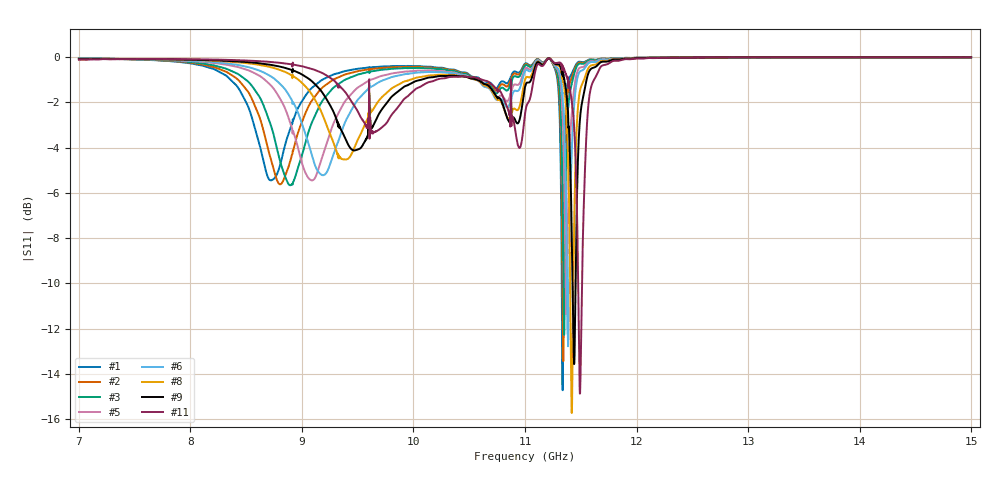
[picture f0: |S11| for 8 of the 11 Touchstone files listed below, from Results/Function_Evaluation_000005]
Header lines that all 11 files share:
! TOUCHSTONE file generated by CST DESIGN STUDIO
! Project name: C:\Work\MatlabApps\UnitCellType2OptimizationMatlab\CST\unitcell.cst
! Tree item: Tasks\Sweep1\SPara1\S-Parameters
! Header version: 2024
! Port assignment regex: !\s*Touchstone port\s*([0-9]+)\s*=\s*(CST MWS port|CST DES external port|CST DES block port)\s*(.+)\s* \(\"(.*)\"\)(\s*mode\s*([0-9]+))?.*
! Touchstone port assignment:
! Touchstone port 1 = CST DES external port 1 ("")
# GHz S MA R 50
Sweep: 7 GHz to 15 GHz
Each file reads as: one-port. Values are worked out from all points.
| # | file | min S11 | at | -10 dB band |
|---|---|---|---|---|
| 1 | DS_for_MWS-run-0001.s1p | -14.7 dB | 11.34 GHz | 14.58 MHz wide |
| 2 | DS_for_MWS-run-0002.s1p | -13.4 dB | 11.34 GHz | 13.36 MHz wide |
| 3 | DS_for_MWS-run-0003.s1p | -12.3 dB | 11.35 GHz | 11.89 MHz wide |
| 4 | DS_for_MWS-run-0004.s1p | -11.5 dB | 11.36 GHz | 10.62 MHz wide |
| 5 | DS_for_MWS-run-0005.s1p | -11.4 dB | 11.37 GHz | 11.31 MHz wide |
| 6 | DS_for_MWS-run-0006.s1p | -12.8 dB | 11.39 GHz | 18.52 MHz wide |
| 7 | DS_for_MWS-run-0007.s1p | -14.7 dB | 11.4 GHz | 25.8 MHz wide |
| 8 | DS_for_MWS-run-0008.s1p | -15.7 dB | 11.42 GHz | 28.71 MHz wide |
| 9 | DS_for_MWS-run-0009.s1p | -13.6 dB | 11.44 GHz | 25.83 MHz wide |
| 10 | DS_for_MWS-run-0010.s1p | -13.0 dB | 11.47 GHz | 24.66 MHz wide |
| 11 | DS_for_MWS-run-0011.s1p | -14.9 dB | 11.49 GHz | 33.39 MHz wide |
